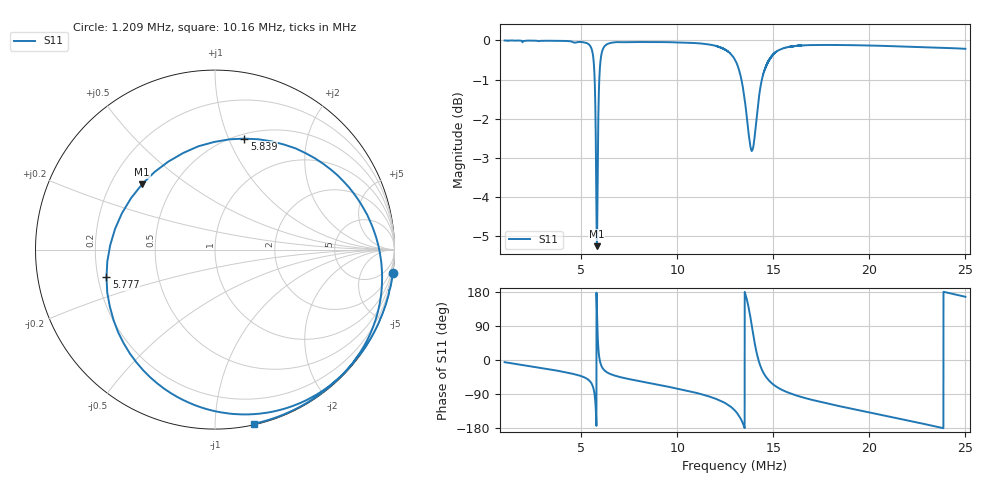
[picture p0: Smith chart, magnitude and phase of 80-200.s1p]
! NanoVNA Web complex sweep
! Processing: unaveraged complex samples; linear segment spacing; no smoothing
# Hz S RI R 50
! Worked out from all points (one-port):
!   5050 points, 1 MHz to 25 MHz, reference 50 ohm
!   lowest |S11| = -5.3 dB at 5.805 MHz (marker M1), VSWR 3.40, Z = 16.6 + j17.3 ohm
!   |S11| at or under -10 dB: nowhere
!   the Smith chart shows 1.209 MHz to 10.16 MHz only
!   S11 on the Smith chart (normalised r, x): 1.209 MHz: 0, -15; 5.777 MHz: 0.23, -0.12; 5.839 MHz: 0.55, +1.14; 10.16 MHz: 0.01, -1.25
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1000000  0.9948 -0.1002
1209132  0.9914 -0.1286
4003896  0.8595 -0.5083
5230170  0.668 -0.7349
5600904  0.3185 -0.9035
5705470  -0.1411 -0.8546
5776765  -0.6047 -0.1543
5805283  -0.4063 0.3643
5838554  0.1641 0.6184
5909849  0.8316 0.223
6019168  0.9294 -0.2081
6299595  0.8422 -0.5158
7003039  0.7041 -0.7028
1.000218e7  0.2481 -0.9629
1.015903e7  0.22 -0.9695
1.207924e7  -0.2379 -0.9536
1.300132e7  -0.6531 -0.682
1.354317e7  -0.8207 0.094
1.370477e7  -0.5785 0.4953
1.388063e7  0.0216 0.7222
1.408976e7  0.6912 0.3634
1.428939e7  0.8451 -0.1661
1.453654e7  0.7132 -0.5741
1.4855e7  0.4949 -0.8102
1.600047e7  -0.0046 -0.9823
1.899961e7  -0.6059 -0.7781
2.199875e7  -0.9203 -0.3426
2.49979e7  -0.9499 0.2225
